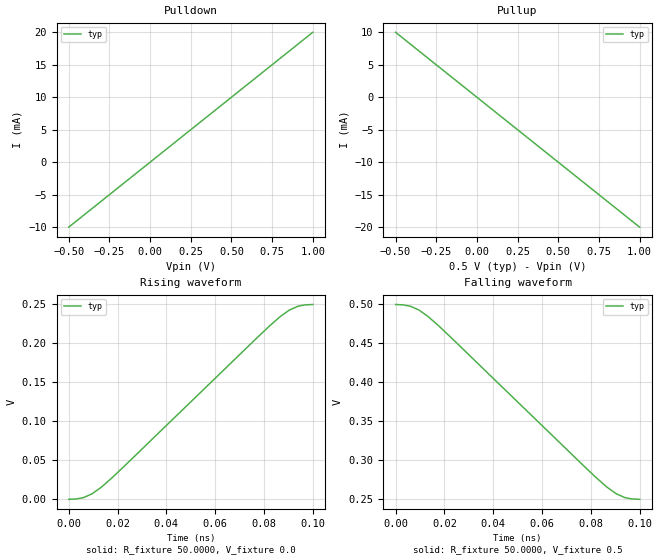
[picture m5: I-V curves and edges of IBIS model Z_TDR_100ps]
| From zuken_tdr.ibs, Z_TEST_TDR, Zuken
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|   Model Z_TDR_100ps  OUTPUT
[Model]   Z_TDR_100ps
Model_type  Output
Polarity   Non-Inverting
Vmeas =0.125V
Vref =0V
Rref =50
Cref =0pF
| variable   typ   min   max
C_comp   0.0   NA   NA
[Temperature Range]   50   NA   NA
[Voltage range]   0.5   NA   NA
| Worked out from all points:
|   slope of the pulldown table from 0 to 0.075 V, typ, clamps not added: 50 ohm
|   slope of the pullup table from 0 to 0.075 V, typ, clamps not added: 50 ohm
|   rising waveform, R_fixture 50.0000, V_fixture 0.0: 20-80 % time 49.5ps typ, NA min, NA max; typ from 0 V to 0.25 V
|   falling waveform, R_fixture 50.0000, V_fixture 0.5: 20-80 % time 49.5ps typ, NA min, NA max; typ from 0.5 V to 0.25 V
[Pullup]
|   Voltage   I(typ)   I(min)   I(max)
-500mV    10mA       NA         NA
1V        -20mA      NA         NA
[Pulldown]
|   Voltage   I(typ)   I(min)   I(max)
-500mV    -10mA      NA         NA
1V        20mA       NA         NA
[GND Clamp]
|   Voltage   I(typ)   I(min)   I(max)
-500mV    0A         NA         NA
1V        0A         NA         NA
[POWER Clamp]
|   Voltage   I(typ)   I(min)   I(max)
-500mV    0A         NA         NA
1V        0A         NA         NA
[ramp]
| variable   typ   min   max
dV/dt_r   0.15/60ps   NA   NA
dV/dt_f   0.15/60ps   NA   NA
[Rising Waveform]
R_fixture=   50.0000
V_fixture=   0.0
V_fixture_min=  0.0
V_fixture_max=  0.0
|time   V(typ)   V(min)   V(max)
0s        0V         NA         NA
6.059ps   2.234mV    NA         NA
9.602ps   7.173mV    NA         NA
13.35ps   15.52mV    NA         NA
22.81ps   42.66mV    NA         NA
77.19ps   207.3mV    NA         NA
86.65ps   234.5mV    NA         NA
90.4ps    242.8mV    NA         NA
93.94ps   247.8mV    NA         NA
100ps     250mV      NA         NA
[Falling Waveform]
R_fixture=   50.0000
V_fixture=   0.5
V_fixture_min=  0.5
V_fixture_max=  0.5
|time   V(typ)   V(min)   V(max)
0s        500mV      NA         NA
6.059ps   497.8mV    NA         NA
9.602ps   492.8mV    NA         NA
13.35ps   484.5mV    NA         NA
22.81ps   457.3mV    NA         NA
77.19ps   292.7mV    NA         NA
86.65ps   265.5mV    NA         NA
90.4ps    257.2mV    NA         NA
93.94ps   252.2mV    NA         NA
100ps     250mV      NA         NA
